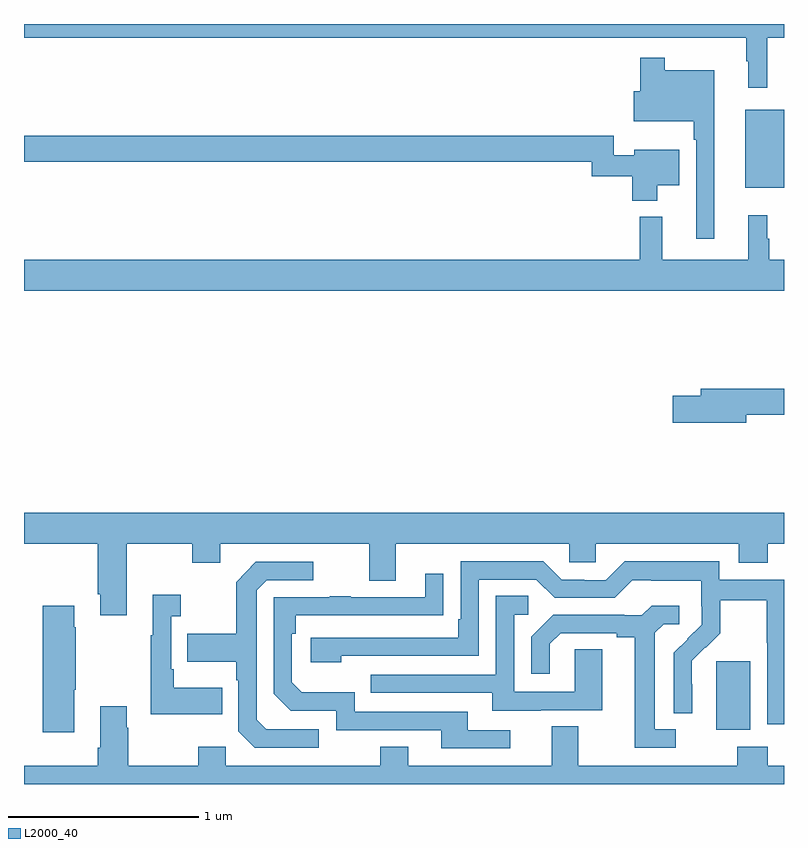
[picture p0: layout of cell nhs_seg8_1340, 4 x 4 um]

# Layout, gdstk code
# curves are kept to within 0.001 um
import gdstk
lib = gdstk.Library(unit=1e-6, precision=1e-09)
def R(c, l, rs):  # rectangles x0, y0, x1, y1
    for r in rs: c.add(gdstk.rectangle(r[:2], r[2:], *l))
def P(c, l, *ps):  # polygons
    for p in ps: c.add(gdstk.Polygon(p, *l))
L2000_40 = (2000, 40)

nhs_seg8_1340 = lib.new_cell('nhs_seg8_1340')
R(nhs_seg8_1340, L2000_40, [(198.644,1118.186,198.823,1118.547), (198.797,1121.039,199,1121.449)])
P(nhs_seg8_1340, L2000_40, [(198.912,1121.828),(199,1121.828),(199,1121.9),(195,1121.9),(195,1121.828),(198.801,1121.828),(198.801,1121.705),(198.812,1121.705),(198.812,1121.565),(198.912,1121.565)],
  [(198.634,1121.656),(198.373,1121.656),(198.373,1121.722),(198.244,1121.722),(198.244,1121.545),(198.21,1121.545),(198.21,1121.387),(198.525,1121.387),(198.525,1121.291),(198.537,1121.291),(198.537,1120.77),(198.634,1120.77)],
  [(198.334,1121.051),(198.448,1121.051),(198.448,1121.239),(198.212,1121.239),(198.212,1121.209),(198.105,1121.209),(198.105,1121.312),(195,1121.312),(195,1121.176),(197.989,1121.176),(197.989,1121.1),(198.2,1121.1),(198.2,1120.97),(198.334,1120.97)],
  [(199,1120.66),(198.922,1120.66),(198.922,1120.769),(198.911,1120.769),(198.911,1120.894),(198.812,1120.894),(198.812,1120.66),(198.359,1120.66),(198.359,1120.885),(198.241,1120.885),(198.241,1120.66),(195,1120.66),(195,1120.496),(199,1120.496)],
  [(198.802,1119.844),(199,1119.844),(199,1119.98),(198.563,1119.98),(198.563,1119.944),(198.414,1119.944),(198.414,1119.802),(198.802,1119.802)],
  [(195.541,1119.164),(195.886,1119.164),(195.886,1119.065),(196.033,1119.065),(196.033,1119.164),(196.817,1119.164),(196.817,1118.97),(196.957,1118.97),(196.957,1119.164),(197.871,1119.164),(197.871,1119.066),(198.009,1119.066),(198.009,1119.164),(198.761,1119.164),(198.761,1119.065),(198.914,1119.065),(198.914,1119.164),(199,1119.164),(199,1119.328),(195,1119.328),(195,1119.164),(195.389,1119.164),(195.389,1118.899),(195.401,1118.899),(195.401,1118.787),(195.541,1118.787)],
  [(199,1118.976),(198.66,1118.976),(198.66,1119.073),(198.163,1119.073),(198.063,1118.973),(197.948,1118.973),(197.948,1118.976),(197.829,1118.976),(197.733,1119.072),(197.298,1119.072),(197.298,1118.767),(197.285,1118.767),(197.285,1118.67),(196.509,1118.67),(196.509,1118.54),(196.67,1118.54),(196.67,1118.574),(197.394,1118.574),(197.394,1118.976),(197.697,1118.976),(197.793,1118.88),(198.108,1118.88),(198.201,1118.973),(198.301,1118.973),(198.301,1118.969),(198.564,1118.969),(198.564,1118.835),(198.566,1118.835),(198.566,1118.738),(198.42,1118.59),(198.42,1118.272),(198.516,1118.272),(198.515,1118.549),(198.585,1118.619),(198.588,1118.616),(198.665,1118.693),(198.665,1118.868),(198.91,1118.868),(198.91,1118.644),(198.912,1118.644),(198.912,1118.215),(199,1118.215)],
  [(196.552,1118.187),(196.275,1118.187),(196.224,1118.238),(196.224,1118.919),(196.278,1118.973),(196.522,1118.973),(196.522,1119.069),(196.221,1119.069),(196.116,1118.963),(196.116,1118.691),(195.859,1118.691),(195.859,1118.543),(196.116,1118.543),(196.116,1118.447),(196.128,1118.447),(196.128,1118.178),(196.215,1118.091),(196.552,1118.091)],
  [(197.56,1118.184),(197.335,1118.184),(197.335,1118.28),(196.74,1118.28),(196.74,1118.383),(196.463,1118.383),(196.41,1118.436),(196.41,1118.69),(196.43,1118.69),(196.43,1118.787),(197.207,1118.788),(197.207,1119.007),(197.111,1119.007),(197.111,1118.883),(196.721,1118.883),(196.721,1118.888),(196.609,1118.888),(196.609,1118.883),(196.314,1118.883),(196.314,1118.376),(196.404,1118.286),(196.644,1118.286),(196.644,1118.184),(197.195,1118.184),(197.195,1118.088),(197.56,1118.088)],
  [(196.043,1118.407),(195.787,1118.407),(195.787,1118.503),(195.774,1118.503),(195.774,1118.783),(195.826,1118.783),(195.826,1118.896),(195.677,1118.896),(195.677,1118.683),(195.666,1118.683),(195.666,1118.267),(196.043,1118.267)],
  [(197.719,1118.289),(198.043,1118.289),(198.043,1118.609),(197.898,1118.609),(197.898,1118.385),(197.58,1118.385),(197.58,1118.79),(197.653,1118.79),(197.653,1118.891),(197.484,1118.891),(197.484,1118.475),(196.825,1118.475),(196.825,1118.379),(197.465,1118.379),(197.465,1118.285),(197.719,1118.285)],
  [(198.43,1118.187),(198.319,1118.187),(198.319,1118.695),(198.366,1118.742),(198.448,1118.742),(198.448,1118.839),(198.304,1118.839),(198.252,1118.787),(198.158,1118.787),(198.158,1118.79),(197.786,1118.79),(197.67,1118.674),(197.67,1118.481),(197.767,1118.481),(197.767,1118.637),(197.824,1118.694),(198.119,1118.694),(198.119,1118.672),(198.215,1118.672),(198.215,1118.091),(198.43,1118.091)],
  [(195.265,1118.395),(195.273,1118.395),(195.273,1118.726),(195.265,1118.726),(195.265,1118.839),(195.098,1118.839),(195.098,1118.172),(195.265,1118.172)],
  [(199,1117.996),(198.914,1117.996),(198.914,1118.095),(198.754,1118.095),(198.754,1117.996),(197.917,1117.996),(197.917,1118.204),(197.777,1118.204),(197.777,1117.996),(197.023,1117.996),(197.023,1118.095),(196.876,1118.095),(196.876,1117.996),(196.062,1117.996),(196.062,1118.095),(195.916,1118.095),(195.916,1117.996),(195.549,1117.996),(195.549,1118.195),(195.541,1118.195),(195.541,1118.308),(195.401,1118.308),(195.401,1118.092),(195.389,1118.092),(195.389,1117.996),(195,1117.996),(195,1117.9),(199,1117.9)])

lib.write_gds('nhs_seg8_1340.gds')
